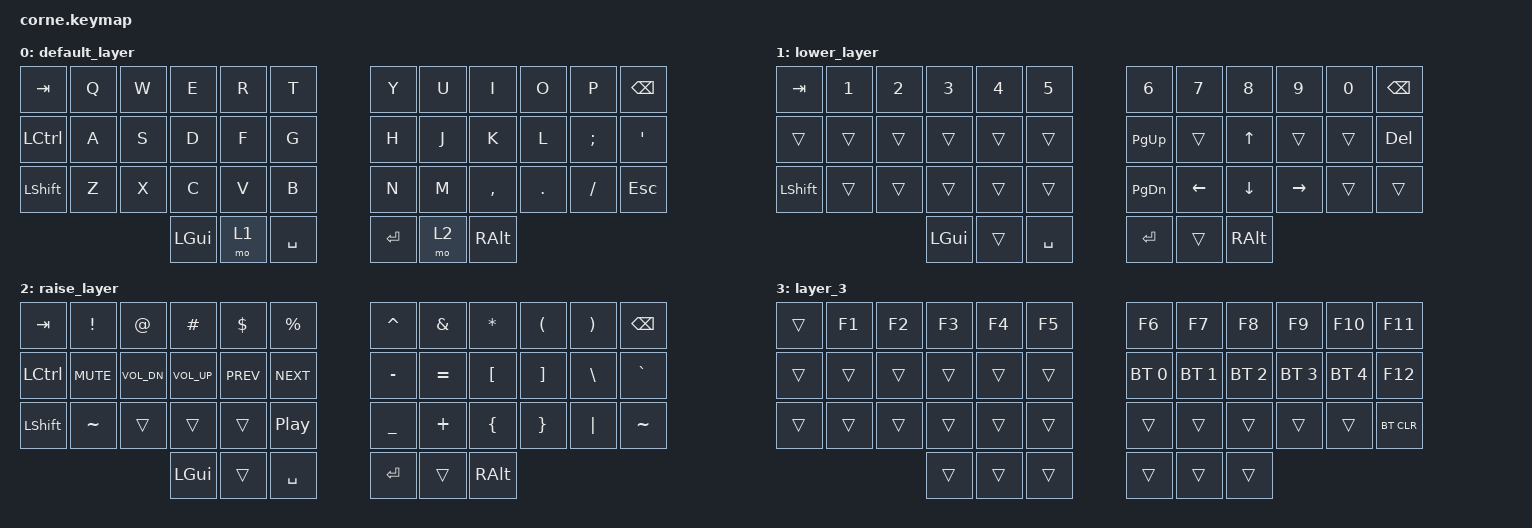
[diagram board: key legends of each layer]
/*
 * Copyright (c) 2020 The ZMK Contributors
 *
 * SPDX-License-Identifier: MIT
 */

#include <behaviors.dtsi>
#include <dt-bindings/zmk/bt.h>
#include <dt-bindings/zmk/keys.h>

/ {
    keymap {
        compatible = "zmk,keymap";

        default_layer {
            // -----------------------------------------------------------------------------------------
            // |  TAB |  Q  |  W  |  E  |  R  |  T  |   |  Y  |  U   |  I  |  O  |  P  | BKSP |
            // | CTRL |  A  |  S  |  D  |  F  |  G  |   |  H  |  J   |  K  |  L  |  ;  |  '   |
            // | SHFT |  Z  |  X  |  C  |  V  |  B  |   |  N  |  M   |  ,  |  .  |  /  | ESC  |
            //                    | GUI | LWR | SPC |   | ENT | RSE  | ALT |

            bindings = <
&kp TAB    &kp Q  &kp W  &kp E     &kp R  &kp T        &kp Y    &kp U  &kp I      &kp O    &kp P     &kp BSPC
&kp LCTRL  &kp A  &kp S  &kp D     &kp F  &kp G        &kp H    &kp J  &kp K      &kp L    &kp SEMI  &kp SQT
&kp LSHFT  &kp Z  &kp X  &kp C     &kp V  &kp B        &kp N    &kp M  &kp COMMA  &kp DOT  &kp FSLH  &kp ESC
                         &kp LGUI  &mo 1  &kp SPACE    &kp RET  &mo 2  &kp RALT
            >;
        };

        lower_layer {
            // -----------------------------------------------------------------------------------------
            // |  TAB |  1  |  2  |  3  |  4  |  5  |   |  6  |  7  |  8  |  9  |  0  | BKSP |
            // | BTCLR| BT1 | BT2 | BT3 | BT4 | BT5 |   | LFT | DWN |  UP | RGT |     |      |
            // | SHFT |     |     |     |     |     |   |     |     |     |     |     |      |
            //                    | GUI |     | SPC |   | ENT |     | ALT |

            bindings = <
&kp TAB    &kp N1  &kp N2  &kp N3    &kp N4  &kp N5       &kp N6     &kp N7    &kp N8    &kp N9     &kp N0  &kp BSPC
&trans     &trans  &trans  &trans    &trans  &trans       &kp PG_UP  &trans    &kp UP    &trans     &trans  &kp DEL
&kp LSHFT  &trans  &trans  &trans    &trans  &trans       &kp PG_DN  &kp LEFT  &kp DOWN  &kp RIGHT  &trans  &trans
                           &kp LGUI  &trans  &kp SPACE    &kp RET    &trans    &kp RALT
            >;
        };

        raise_layer {
            // -----------------------------------------------------------------------------------------
            // |  TAB |  !  |  @  |  #  |  $  |  %  |   |  ^  |  &  |  *  |  (  |  )  | BKSP |
            // | CTRL |     |     |     |     |     |   |  -  |  =  |  [  |  ]  |  \  |  `   |
            // | SHFT |     |     |     |     |     |   |  _  |  +  |  {  |  }  | "|" |  ~   |
            //                    | GUI |     | SPC |   | ENT |     | ALT |

            bindings = <
&kp TAB    &kp EXCL    &kp AT        &kp HASH      &kp DLLR    &kp PRCNT     &kp CARET  &kp AMPS   &kp ASTRK  &kp LPAR  &kp RPAR  &kp BSPC
&kp LCTRL  &kp K_MUTE  &kp C_VOL_DN  &kp C_VOL_UP  &kp C_PREV  &kp C_NEXT    &kp MINUS  &kp EQUAL  &kp LBKT   &kp RBKT  &kp BSLH  &kp GRAVE
&kp LSHFT  &kp TILDE   &trans        &trans        &trans      &kp C_PP      &kp UNDER  &kp PLUS   &kp LBRC   &kp RBRC  &kp PIPE  &kp TILDE
                                     &kp LGUI      &trans      &kp SPACE     &kp RET    &trans     &kp RALT
            >;
        };

        layer_3 {
            bindings = <
&trans  &kp F1  &kp F2  &kp F3  &kp F4  &kp F5    &kp F6        &kp F7        &kp F8        &kp F9        &kp F10       &kp F11
&trans  &trans  &trans  &trans  &trans  &trans    &bt BT_SEL 0  &bt BT_SEL 1  &bt BT_SEL 2  &bt BT_SEL 3  &bt BT_SEL 4  &kp F12
&trans  &trans  &trans  &trans  &trans  &trans    &trans        &trans        &trans        &trans        &trans        &bt BT_CLR
                        &trans  &trans  &trans    &trans        &trans        &trans
            >;
        };
    };

    conditional_layers {
        compatible = "zmk,conditional-layers";

        l3 {
            if-layers = <1 2>;
            then-layer = <3>;
        };
    };
};
